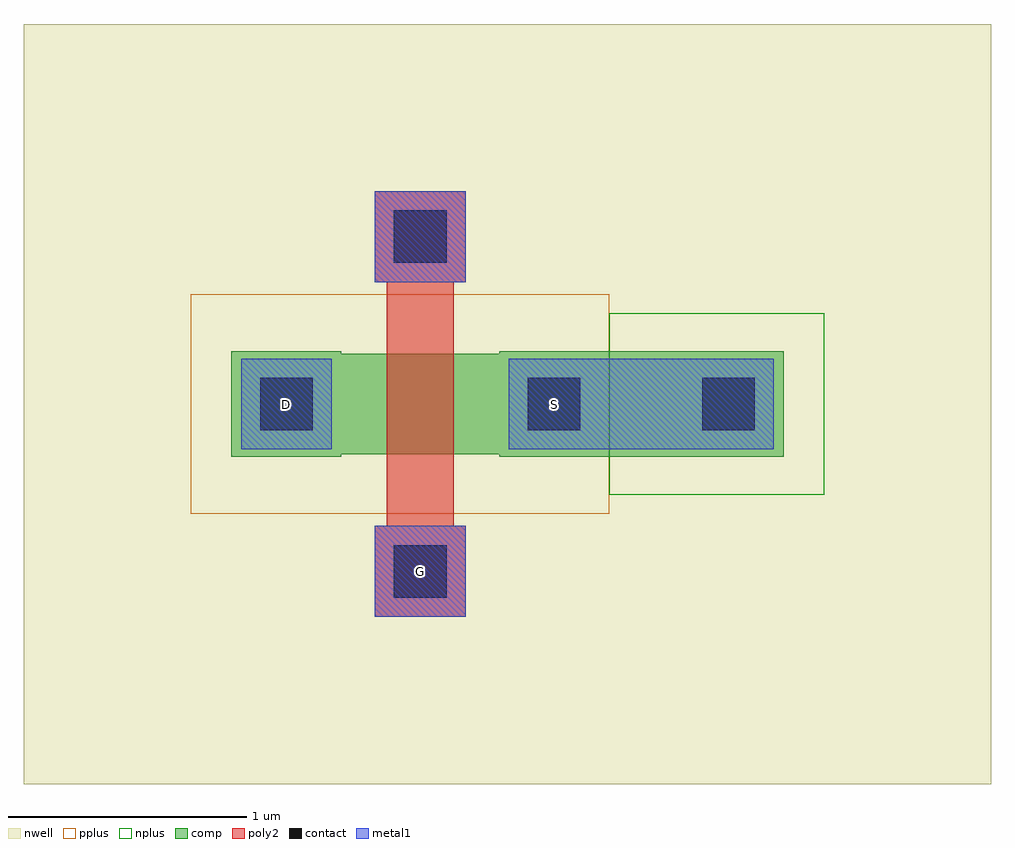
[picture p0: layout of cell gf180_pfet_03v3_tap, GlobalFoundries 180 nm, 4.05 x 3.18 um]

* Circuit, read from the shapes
.subckt gf180_pfet_03v3_tap D G S
XM1 S G D S pfet_03v3 w=0.42u l=0.28u
.ends

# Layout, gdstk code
import gdstk
lib = gdstk.Library(unit=1e-6, precision=1e-09)
def R(c, l, rs):  # rectangles x0, y0, x1, y1
    for r in rs: c.add(gdstk.rectangle(r[:2], r[2:], *l))
def P(c, l, *ps):  # polygons
    for p in ps: c.add(gdstk.Polygon(p, *l))
nwell = (21, 0)
comp = (22, 0)
poly2 = (30, 0)
pplus = (31, 0)
nplus = (32, 0)
contact = (33, 0)
metal1 = (34, 0)

pfet = lib.new_cell('pfet')
R(pfet, nwell, [(-1.33,-1.38,2.72,1.8)])
P(pfet, comp, [(-0.46,-0.01),(-0.46,0.43),(0,0.43),(0,0.42),(0.66,0.42),(0.66,0.43),(1.85,0.43),(1.85,-0.01),(0.66,-0.01),(0.66,0),(0,0),(0,-0.01)])
P(pfet, poly2, [(0.14,-0.68),(0.14,-0.3),(0.19,-0.3),(0.19,0.72),(0.14,0.72),(0.14,1.1),(0.52,1.1),(0.52,0.72),(0.47,0.72),(0.47,-0.3),(0.52,-0.3),(0.52,-0.68)])
R(pfet, pplus, [(-0.63,-0.25,1.12,0.67)])
R(pfet, nplus, [(1.12,-0.17,2.02,0.59)])
R(pfet, contact, [(0.22,-0.6,0.44,-0.38), (-0.34,0.1,-0.12,0.32), (0.78,0.1,1,0.32), (1.51,0.1,1.73,0.32), (0.22,0.8,0.44,1.02)])
R(pfet, metal1, [(0.14,-0.68,0.52,-0.3), (-0.42,0.02,-0.04,0.4), (0.7,0.02,1.08,0.4), (1.43,0.02,1.81,0.4), (0.14,0.72,0.52,1.1)])

gf180_pfet_03v3_tap = lib.new_cell('gf180_pfet_03v3_tap')
R(gf180_pfet_03v3_tap, metal1, [(1.08,0.02,1.43,0.4)])
gf180_pfet_03v3_tap.add(gdstk.Reference(pfet, (0,0)))
gf180_pfet_03v3_tap.add(gdstk.Label('D', (-0.23,0.21), layer=34, texttype=10))
gf180_pfet_03v3_tap.add(gdstk.Label('S', (0.89,0.21), layer=34, texttype=10))
gf180_pfet_03v3_tap.add(gdstk.Label('G', (0.33,-0.49), layer=34, texttype=10))

lib.write_gds('gf180_pfet_03v3_tap.gds')
